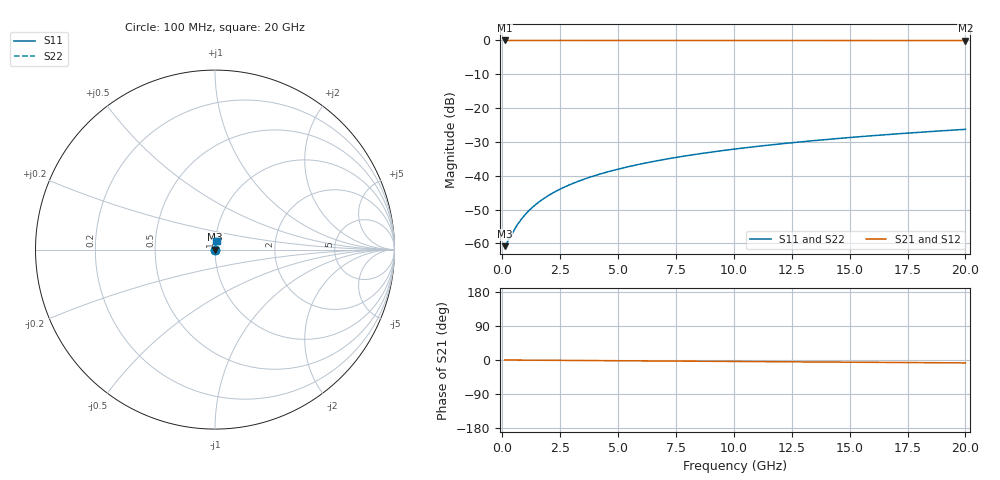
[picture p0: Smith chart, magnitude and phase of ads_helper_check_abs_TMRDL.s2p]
! Created Tue Jul  7 16:39:37 2026
# hz S ma R 50
! Port[1] Term1
! Port[2] Term2
! 2 Port Network Data from SP1.SP block
! freq  magS11  angS11  magS21  angS21  magS12  angS12  magS22  angS22
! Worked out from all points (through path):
!   200 points, 100 MHz to 20 GHz, reference 50 ohm
!   highest |S21| = -0.01 dB at 100 MHz (marker M1); lowest = 0.0 dB at 20 GHz (marker M2)
!   group delay of S21, straight-line fit = 1.07 ps
!   lowest |S11| = -60.8 dB at 100 MHz (marker M3), VSWR 1.00, Z = 50.1 + j0.0252 ohm
!   |S11| at or under -10 dB: start of sweep to end of sweep
!   |S22| runs from -60.8 to -26.3 dB; largest |S21 - S12| = 0
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1e8  0.0009079 16.1  0.9991 -0.0  0.9991 -0.0  0.000908 16.1
2e8  0.001016 29.7  0.9991 -0.1  0.9991 -0.1  0.001016 29.6
5e8  0.001553 54.0  0.9991 -0.2  0.9991 -0.2  0.001553 53.8
6e8  0.001767 58.5  0.9991 -0.2  0.9991 -0.2  0.001768 58.3
8e8  0.002217 64.8  0.999 -0.3  0.999 -0.3  0.002219 64.6
9e8  0.00245 67.1  0.999 -0.4  0.999 -0.4  0.002452 66.8
1.1e9  0.002924 70.5  0.999 -0.4  0.999 -0.4  0.002926 70.2
1.4e9  0.003646 74.0  0.999 -0.5  0.999 -0.5  0.003649 73.6
1.8e9  0.004622 76.9  0.9989 -0.7  0.9989 -0.7  0.004626 76.3
2.3e9  0.00585 79.1  0.9989 -0.9  0.9989 -0.9  0.005855 78.4
2.9e9  0.007327 80.7  0.9988 -1.1  0.9988 -1.1  0.007334 79.8
3.5e9  0.008806 81.7  0.9987 -1.4  0.9987 -1.4  0.008815 80.6
4.2e9  0.01053 82.5  0.9987 -1.6  0.9987 -1.6  0.01054 81.2
5e9  0.0125 83.0  0.9986 -1.9  0.9986 -1.9  0.01251 81.5
5.9e9  0.01471 83.4  0.9984 -2.3  0.9984 -2.3  0.01472 81.6
6.8e9  0.01691 83.7  0.9983 -2.6  0.9983 -2.6  0.01693 81.6
8.3e9  0.02057 83.8  0.9981 -3.2  0.9981 -3.2  0.02059 81.3
1.01e10  0.02493 83.8  0.9978 -3.9  0.9978 -3.9  0.02497 80.7
1.17e10  0.02879 83.7  0.9976 -4.5  0.9976 -4.5  0.02883 80.1
1.34e10  0.03287 83.5  0.9973 -5.2  0.9973 -5.2  0.03292 79.4
1.67e10  0.04072 83.1  0.9966 -6.4  0.9966 -6.4  0.04079 77.9
2e10  0.04849 82.6  0.996 -7.7  0.996 -7.7  0.04858 76.3
